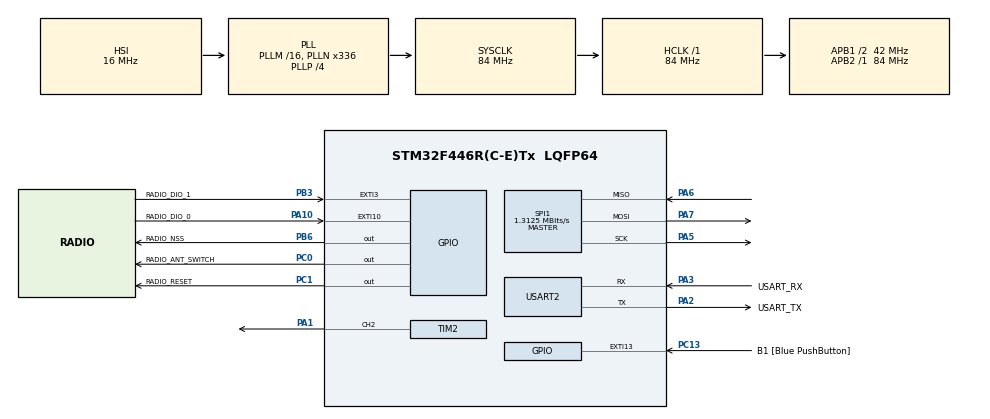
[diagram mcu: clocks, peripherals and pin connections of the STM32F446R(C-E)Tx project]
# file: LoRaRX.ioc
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Mcu.Family=STM32F4
Mcu.Name=STM32F446R(C-E)Tx
Mcu.Package=LQFP64
NVIC.EXTI15_10_IRQn=true\:0\:0\:false\:false\:true\:true\:true\:true
NVIC.EXTI3_IRQn=true\:0\:0\:false\:false\:true\:true\:true\:true
NVIC.PriorityGroup=NVIC_PRIORITYGROUP_0
NVIC.TIM2_IRQn=true\:0\:0\:false\:false\:true\:true\:true\:true
PA1.Signal=S_TIM2_CH2
PA10.GPIO_Label=RADIO_DIO_0
PA10.Signal=GPXTI10
PA13.GPIO_Label=TMS
PA13.Mode=Serial_Wire
PA13.Signal=SYS_JTMS-SWDIO
PA14.GPIO_Label=TCK
PA14.Mode=Serial_Wire
PA14.Signal=SYS_JTCK-SWCLK
PA2.GPIO_Label=USART_TX
PA2.Mode=Asynchronous
PA2.Signal=USART2_TX
PA3.GPIO_Label=USART_RX
PA3.Mode=Asynchronous
PA3.Signal=USART2_RX
PA5.Mode=Full_Duplex_Master
PA5.Signal=SPI1_SCK
PA6.Mode=Full_Duplex_Master
PA6.Signal=SPI1_MISO
PA7.Mode=Full_Duplex_Master
PA7.Signal=SPI1_MOSI
PB3.GPIO_Label=RADIO_DIO_1
PB3.Signal=GPXTI3
PB6.GPIO_Label=RADIO_NSS
PB6.GPIO_Speed=GPIO_SPEED_FREQ_HIGH
PB6.PinState=GPIO_PIN_SET
PB6.Signal=GPIO_Output
PC0.GPIO_Label=RADIO_ANT_SWITCH
PC0.GPIO_PuPd=GPIO_PULLUP
PC0.Signal=GPIO_Output
PC1.GPIO_Label=RADIO_RESET
PC1.PinState=GPIO_PIN_SET
PC1.Signal=GPIO_Output
PC13.GPIO_Label=B1 [Blue PushButton]
PC13.GPIO_ModeDefaultEXTI=GPIO_MODE_IT_FALLING
PC13.Signal=GPXTI13
PC14-OSC32_IN.Mode=LSE-External-Oscillator
PC14-OSC32_IN.Signal=RCC_OSC32_IN
PC15-OSC32_OUT.Mode=LSE-External-Oscillator
PC15-OSC32_OUT.Signal=RCC_OSC32_OUT
PH0-OSC_IN.Mode=HSE-External-Oscillator
PH0-OSC_IN.Signal=RCC_OSC_IN
PH1-OSC_OUT.Mode=HSE-External-Oscillator
PH1-OSC_OUT.Signal=RCC_OSC_OUT
ProjectManager.HeapSize=0x200
ProjectManager.StackSize=0x400
ProjectManager.TargetToolchain=STM32CubeIDE
RCC.48MHZClocksFreq_Value=84000000
RCC.AHBFreq_Value=84000000
RCC.APB1CLKDivider=RCC_HCLK_DIV2
RCC.APB1Freq_Value=42000000
RCC.APB1TimFreq_Value=84000000
RCC.APB2Freq_Value=84000000
RCC.APB2TimFreq_Value=84000000
RCC.CortexFreq_Value=84000000
RCC.FLatency-AdvancedSettings=FLASH_LATENCY_2
RCC.HCLKFreq_Value=84000000
RCC.HSE_VALUE=8000000
RCC.HSI_VALUE=16000000
RCC.PLLN=336
RCC.PLLP=RCC_PLLP_DIV4
RCC.SYSCLKFreq_VALUE=84000000
RCC.SYSCLKSource=RCC_SYSCLKSOURCE_PLLCLK
RCC.USBFreq_Value=168000000
RCC.VCOOutputFreq_Value=336000000
SH.S_TIM2_CH2.0=TIM2_CH2,PWM Generation2 CH2
SPI1.BaudRatePrescaler=SPI_BAUDRATEPRESCALER_64
SPI1.CalculateBaudRate=1.3125 MBits/s
SPI1.Direction=SPI_DIRECTION_2LINES
SPI1.Mode=SPI_MODE_MASTER
SPI1.VirtualType=VM_MASTER
TIM2.Channel-PWM\ Generation2\ CH2=TIM_CHANNEL_2
TIM2.Period=199
TIM2.Prescaler=8399
TIM2.Pulse-PWM\ Generation2\ CH2=15
USART2.VirtualMode=VM_ASYNC
VP_TIM2_VS_ClockSourceINT.Mode=Internal
board=NUCLEO-F446RE

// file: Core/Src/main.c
/* USER CODE BEGIN Header */
/**
  ******************************************************************************
  * @file           : main.c
  * @brief          : Main program body
  ******************************************************************************
  * @attention
  *
  * Copyright (c) 2025 STMicroelectronics.
  * All rights reserved.
  *
  * This software is licensed under terms that can be found in the LICENSE file
  * in the root directory of this software component.
  * If no LICENSE file comes with this software, it is provided AS-IS.
  *
  ******************************************************************************
  */
/* USER CODE END Header */
#include "main.h"

SPI_HandleTypeDef hspi1;

TIM_HandleTypeDef htim2;

UART_HandleTypeDef huart2;

/* USER CODE BEGIN PV */
static RadioEvents_t RadioEvents;
static uint8_t RxBuffer[257];   // 마지막 1바이트는 '\0' 위해
static uint16_t RxSize = 0;
static int motor_command_received = 0;
/* USER CODE END PV */

void SystemClock_Config(void);
static void MX_GPIO_Init(void);
static void MX_USART2_UART_Init(void);
static void MX_SPI1_Init(void);
static void MX_TIM2_Init(void);
/* USER CODE BEGIN PFP */

/* LoRa 초기화 및 콜백 */
void LoRa_Init(void);
static void OnRxDone(uint8_t *payload, uint16_t size, int16_t rssi, int8_t snr);
static void OnRxTimeout(void);
static void OnRxError(void);
/* USER CODE END PFP */

int main(void)
{

  /* MCU Configuration--------------------------------------------------------*/

  /* Reset of all peripherals, Initializes the Flash interface and the Systick. */
  HAL_Init();

  /* Configure the system clock */
  SystemClock_Config();

  /* Initialize all configured peripherals */
  MX_GPIO_Init();
  MX_USART2_UART_Init();
  MX_SPI1_Init();
  MX_TIM2_Init();
  /* USER CODE BEGIN 2 */
  LoRa_Init();   // LoRa 수신 초기화
  HAL_TIM_PWM_Start(&htim2, TIM_CHANNEL_2); // PWM 시작
  /* USER CODE END 2 */

  /* Infinite loop */
  while (1)
  {

  }
}

void SystemClock_Config(void)
{
  RCC_OscInitTypeDef RCC_OscInitStruct = {0};
  RCC_ClkInitTypeDef RCC_ClkInitStruct = {0};

  /** Configure the main internal regulator output voltage
  */
  __HAL_RCC_PWR_CLK_ENABLE();
  __HAL_PWR_VOLTAGESCALING_CONFIG(PWR_REGULATOR_VOLTAGE_SCALE3);

  /** Initializes the RCC Oscillators according to the specified parameters
  * in the RCC_OscInitTypeDef structure.
  */
  RCC_OscInitStruct.OscillatorType = RCC_OSCILLATORTYPE_HSI;
  RCC_OscInitStruct.HSIState = RCC_HSI_ON;
  RCC_OscInitStruct.HSICalibrationValue = RCC_HSICALIBRATION_DEFAULT;
  RCC_OscInitStruct.PLL.PLLState = RCC_PLL_ON;
  RCC_OscInitStruct.PLL.PLLSource = RCC_PLLSOURCE_HSI;
  RCC_OscInitStruct.PLL.PLLM = 16;
  RCC_OscInitStruct.PLL.PLLN = 336;
  RCC_OscInitStruct.PLL.PLLP = RCC_PLLP_DIV4;
  RCC_OscInitStruct.PLL.PLLQ = 2;
  RCC_OscInitStruct.PLL.PLLR = 2;
  if (HAL_RCC_OscConfig(&RCC_OscInitStruct) != HAL_OK)
  {
    Error_Handler();
  }

  /** Initializes the CPU, AHB and APB buses clocks
  */
  RCC_ClkInitStruct.ClockType = RCC_CLOCKTYPE_HCLK|RCC_CLOCKTYPE_SYSCLK
                              |RCC_CLOCKTYPE_PCLK1|RCC_CLOCKTYPE_PCLK2;
  RCC_ClkInitStruct.SYSCLKSource = RCC_SYSCLKSOURCE_PLLCLK;
  RCC_ClkInitStruct.AHBCLKDivider = RCC_SYSCLK_DIV1;
  RCC_ClkInitStruct.APB1CLKDivider = RCC_HCLK_DIV2;
  RCC_ClkInitStruct.APB2CLKDivider = RCC_HCLK_DIV1;

  if (HAL_RCC_ClockConfig(&RCC_ClkInitStruct, FLASH_LATENCY_2) != HAL_OK)
  {
    Error_Handler();
  }
}

static void MX_SPI1_Init(void)
{

  /* SPI1 parameter configuration*/
  hspi1.Instance = SPI1;
  hspi1.Init.Mode = SPI_MODE_MASTER;
  hspi1.Init.Direction = SPI_DIRECTION_2LINES;
  hspi1.Init.DataSize = SPI_DATASIZE_8BIT;
  hspi1.Init.CLKPolarity = SPI_POLARITY_LOW;
  hspi1.Init.CLKPhase = SPI_PHASE_1EDGE;
  hspi1.Init.NSS = SPI_NSS_SOFT;
  hspi1.Init.BaudRatePrescaler = SPI_BAUDRATEPRESCALER_64;
  hspi1.Init.FirstBit = SPI_FIRSTBIT_MSB;
  hspi1.Init.TIMode = SPI_TIMODE_DISABLE;
  hspi1.Init.CRCCalculation = SPI_CRCCALCULATION_DISABLE;
  hspi1.Init.CRCPolynomial = 10;
  if (HAL_SPI_Init(&hspi1) != HAL_OK)
  {
    Error_Handler();
  }

}

static void MX_TIM2_Init(void)
{

  TIM_ClockConfigTypeDef sClockSourceConfig = {0};
  TIM_MasterConfigTypeDef sMasterConfig = {0};
  TIM_OC_InitTypeDef sConfigOC = {0};

  htim2.Instance = TIM2;
  htim2.Init.Prescaler = 8399;
  htim2.Init.CounterMode = TIM_COUNTERMODE_UP;
  htim2.Init.Period = 199;
  htim2.Init.ClockDivision = TIM_CLOCKDIVISION_DIV1;
  htim2.Init.AutoReloadPreload = TIM_AUTORELOAD_PRELOAD_DISABLE;
  if (HAL_TIM_Base_Init(&htim2) != HAL_OK)
  {
    Error_Handler();
  }
  sClockSourceConfig.ClockSource = TIM_CLOCKSOURCE_INTERNAL;
  if (HAL_TIM_ConfigClockSource(&htim2, &sClockSourceConfig) != HAL_OK)
  {
    Error_Handler();
  }
  if (HAL_TIM_PWM_Init(&htim2) != HAL_OK)
  {
    Error_Handler();
  }
  sMasterConfig.MasterOutputTrigger = TIM_TRGO_RESET;
  sMasterConfig.MasterSlaveMode = TIM_MASTERSLAVEMODE_DISABLE;
  if (HAL_TIMEx_MasterConfigSynchronization(&htim2, &sMasterConfig) != HAL_OK)
  {
    Error_Handler();
  }
  sConfigOC.OCMode = TIM_OCMODE_PWM1;
  sConfigOC.Pulse = 15;
  sConfigOC.OCPolarity = TIM_OCPOLARITY_HIGH;
  sConfigOC.OCFastMode = TIM_OCFAST_DISABLE;
  if (HAL_TIM_PWM_ConfigChannel(&htim2, &sConfigOC, TIM_CHANNEL_2) != HAL_OK)
  {
    Error_Handler();
  }
  HAL_TIM_MspPostInit(&htim2);

}

static void MX_USART2_UART_Init(void)
{

  huart2.Instance = USART2;
  huart2.Init.BaudRate = 115200;
  huart2.Init.WordLength = UART_WORDLENGTH_8B;
  huart2.Init.StopBits = UART_STOPBITS_1;
  huart2.Init.Parity = UART_PARITY_NONE;
  huart2.Init.Mode = UART_MODE_TX_RX;
  huart2.Init.HwFlowCtl = UART_HWCONTROL_NONE;
  huart2.Init.OverSampling = UART_OVERSAMPLING_16;
  if (HAL_UART_Init(&huart2) != HAL_OK)
  {
    Error_Handler();
  }

}

static void MX_GPIO_Init(void)
{
  GPIO_InitTypeDef GPIO_InitStruct = {0};

  /* GPIO Ports Clock Enable */
  __HAL_RCC_GPIOC_CLK_ENABLE();
  __HAL_RCC_GPIOH_CLK_ENABLE();
  __HAL_RCC_GPIOA_CLK_ENABLE();
  __HAL_RCC_GPIOB_CLK_ENABLE();

  /*Configure GPIO pin Output Level */
  HAL_GPIO_WritePin(RADIO_ANT_SWITCH_GPIO_Port, RADIO_ANT_SWITCH_Pin, GPIO_PIN_RESET);

  /*Configure GPIO pin Output Level */
  HAL_GPIO_WritePin(RADIO_RESET_GPIO_Port, RADIO_RESET_Pin, GPIO_PIN_SET);

  /*Configure GPIO pin Output Level */
  HAL_GPIO_WritePin(RADIO_NSS_GPIO_Port, RADIO_NSS_Pin, GPIO_PIN_SET);

  /*Configure GPIO pin : B1_Pin */
  GPIO_InitStruct.Pin = B1_Pin;
  GPIO_InitStruct.Mode = GPIO_MODE_IT_FALLING;
  GPIO_InitStruct.Pull = GPIO_NOPULL;
  HAL_GPIO_Init(B1_GPIO_Port, &GPIO_InitStruct);

  /*Configure GPIO pin : RADIO_ANT_SWITCH_Pin */
  GPIO_InitStruct.Pin = RADIO_ANT_SWITCH_Pin;
  GPIO_InitStruct.Mode = GPIO_MODE_OUTPUT_PP;
  GPIO_InitStruct.Pull = GPIO_PULLUP;
  GPIO_InitStruct.Speed = GPIO_SPEED_FREQ_LOW;
  HAL_GPIO_Init(RADIO_ANT_SWITCH_GPIO_Port, &GPIO_InitStruct);

  /*Configure GPIO pin : RADIO_RESET_Pin */
  GPIO_InitStruct.Pin = RADIO_RESET_Pin;
  GPIO_InitStruct.Mode = GPIO_MODE_OUTPUT_PP;
  GPIO_InitStruct.Pull = GPIO_NOPULL;
  GPIO_InitStruct.Speed = GPIO_SPEED_FREQ_LOW;
  HAL_GPIO_Init(RADIO_RESET_GPIO_Port, &GPIO_InitStruct);

  /*Configure GPIO pin : RADIO_DIO_0_Pin */
  GPIO_InitStruct.Pin = RADIO_DIO_0_Pin;
  GPIO_InitStruct.Mode = GPIO_MODE_IT_RISING;
  GPIO_InitStruct.Pull = GPIO_NOPULL;
  HAL_GPIO_Init(RADIO_DIO_0_GPIO_Port, &GPIO_InitStruct);

  /*Configure GPIO pin : RADIO_DIO_1_Pin */
  GPIO_InitStruct.Pin = RADIO_DIO_1_Pin;
  GPIO_InitStruct.Mode = GPIO_MODE_IT_RISING;
  GPIO_InitStruct.Pull = GPIO_NOPULL;
  HAL_GPIO_Init(RADIO_DIO_1_GPIO_Port, &GPIO_InitStruct);

  /*Configure GPIO pin : RADIO_NSS_Pin */
  GPIO_InitStruct.Pin = RADIO_NSS_Pin;
  GPIO_InitStruct.Mode = GPIO_MODE_OUTPUT_PP;
  GPIO_InitStruct.Pull = GPIO_NOPULL;
  GPIO_InitStruct.Speed = GPIO_SPEED_FREQ_HIGH;
  HAL_GPIO_Init(RADIO_NSS_GPIO_Port, &GPIO_InitStruct);

  /* EXTI interrupt init*/
  HAL_NVIC_SetPriority(EXTI3_IRQn, 0, 0);
  HAL_NVIC_EnableIRQ(EXTI3_IRQn);

  HAL_NVIC_SetPriority(EXTI15_10_IRQn, 0, 0);
  HAL_NVIC_EnableIRQ(EXTI15_10_IRQn);

}

/* USER CODE BEGIN 4 */
/* printf 를 USART2 로 보내기 위한 리다이렉트(편의용) */
int _write(int file, char *ptr, int len)
{
    HAL_UART_Transmit(&huart2, (uint8_t *)ptr, len, HAL_MAX_DELAY);
    return len;
}

/* LoRa 수신 초기화 */
void LoRa_Init(void)
{
    /* 콜백 등록 */
    RadioEvents.RxDone    = OnRxDone;
    RadioEvents.RxTimeout = OnRxTimeout;
    RadioEvents.RxError   = OnRxError;

    /* 드라이버 초기화 */
    Radio.Init(&RadioEvents);

    /* 주파수 & 모뎀 설정 (TX 보드와 동일해야 함) */
    Radio.SetChannel(RF_FREQUENCY);

    Radio.SetRxConfig(
        MODEM_LORA,
        LORA_BANDWIDTH,
        LORA_SPREADING_FACTOR,
        LORA_CODINGRATE,
        0,                      // fdev (FSK용)
        LORA_PREAMBLE_LENGTH,
        LORA_SYMBOL_TIMEOUT,
        LORA_FIX_LENGTH_PAYLOAD_ON,
        0,                      // payloadLen (가변일 때 0)
        true,                   // crcOn
        0,                      // freqHopOn
        0,                      // hopPeriod
        LORA_IQ_INVERSION_ON,
        true                    // continuous mode
    );

    /* 수신 시작 (0이면 연속 수신) */
    Radio.Rx(0);
}

/* 실제 패킷 수신 콜백 */
static void OnRxDone(uint8_t *payload, uint16_t size, int16_t rssi, int8_t snr)
{
	static uint32_t packet_count = 0;
	packet_count++;

	/* 수신된 데이터 보관 */
	RxSize = size;
	if (RxSize > sizeof(RxBuffer) - 1)
	    RxSize = sizeof(RxBuffer) - 1;

	memcpy(RxBuffer, payload, RxSize);
	RxBuffer[RxSize] = '\0';

	/* 다시 수신 모드로 빠르게 전환 (printf 전에!) */
    Radio.Rx(0);

    // 패킷 식별 및 모터 동작
    if (RxSize > 0 && RxBuffer[0] == 'M')
    {
        // (디버깅용 출력)
        printf("Motor Packet: %s\n", (char *)RxBuffer); // M을 제외한 데이터 출력

    	// 모터 동작용 플래그
    	motor_command_received = 1;
    }
    // 가창 앞이 'M'이 아닌 패킷은 무시하고, 다음 수신 대기 상태로 전환 완료
}

static void OnRxTimeout(void)
{
    /* 타임아웃 후 다시 수신 시작 */
    printf("LoRa RX Timeout\r\n");
    Radio.Rx(0);
}

static void OnRxError(void)
{
    /* 오류 발생 시도 다시 수신 시작 */
    printf("LoRa RX Error\r\n");
    Radio.Rx(0);
}

/* SX1272 IRQ 핸들러 extern 선언 */
extern void SX1272OnDio0Irq(void* context);
extern void SX1272OnDio1Irq(void* context);

void HAL_GPIO_EXTI_Callback(uint16_t GPIO_Pin)
{
    if (GPIO_Pin == RADIO_DIO_0_Pin)
    {
        /* DIO0 인터럽트 처리 (RxDone/TxDone) */
        SX1272OnDio0Irq(NULL);
    }
    else if (GPIO_Pin == RADIO_DIO_1_Pin)
    {
        /* DIO1 인터럽트 처리 (RxTimeout) */
        SX1272OnDio1Irq(NULL);
    }
    else if (GPIO_Pin == B1_Pin)
    {
        /* 버튼으로 디버깅 */
        printf("B1 pressed\r\n");
        Radio.Rx(0);
    }
}
/* USER CODE END 4 */

void Error_Handler(void)
{
  __disable_irq();
  while (1)
  {
  }
}
